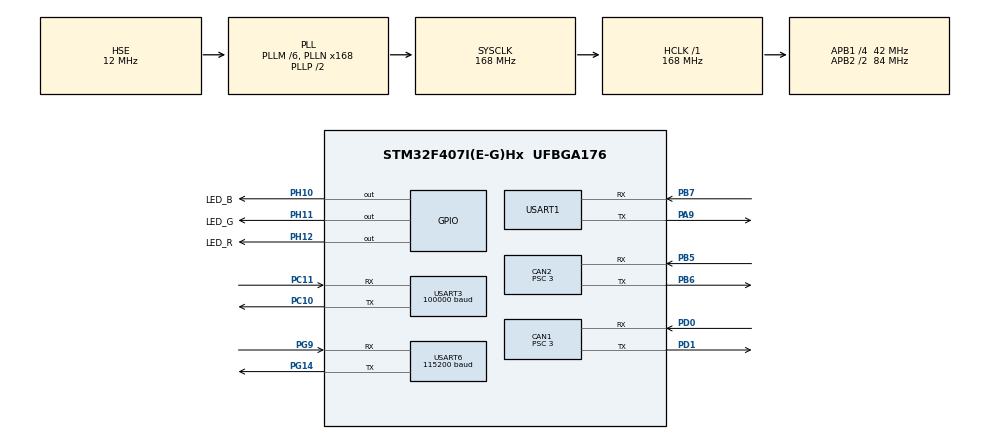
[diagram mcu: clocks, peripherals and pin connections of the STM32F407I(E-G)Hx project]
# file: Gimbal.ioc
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CAN1.BS1=CAN_BS1_10TQ
CAN1.BS2=CAN_BS2_3TQ
CAN1.CalculateBaudRate=1000000
CAN1.CalculateTimeBit=1000
CAN1.CalculateTimeQuantum=71.42857142857143
CAN1.Prescaler=3
CAN2.BS1=CAN_BS1_10TQ
CAN2.BS2=CAN_BS2_3TQ
CAN2.CalculateBaudRate=1000000
CAN2.CalculateTimeBit=1000
CAN2.CalculateTimeQuantum=71.42857142857143
CAN2.Prescaler=3
Dma.Request0=USART6_RX
Dma.Request1=USART6_TX
Dma.Request2=USART1_RX
Dma.Request3=USART1_TX
Dma.Request4=USART3_RX
Dma.Request5=USART3_TX
Dma.USART1_RX.2.Direction=DMA_PERIPH_TO_MEMORY
Dma.USART1_RX.2.FIFOMode=DMA_FIFOMODE_DISABLE
Dma.USART1_RX.2.Instance=DMA2_Stream2
Dma.USART1_RX.2.MemDataAlignment=DMA_MDATAALIGN_BYTE
Dma.USART1_RX.2.MemInc=DMA_MINC_ENABLE
Dma.USART1_RX.2.Mode=DMA_NORMAL
Dma.USART1_RX.2.PeriphDataAlignment=DMA_PDATAALIGN_BYTE
Dma.USART1_RX.2.PeriphInc=DMA_PINC_DISABLE
Dma.USART1_RX.2.Priority=DMA_PRIORITY_LOW
Dma.USART1_TX.3.Direction=DMA_MEMORY_TO_PERIPH
Dma.USART1_TX.3.FIFOMode=DMA_FIFOMODE_DISABLE
Dma.USART1_TX.3.Instance=DMA2_Stream7
Dma.USART1_TX.3.MemDataAlignment=DMA_MDATAALIGN_BYTE
Dma.USART1_TX.3.MemInc=DMA_MINC_ENABLE
Dma.USART1_TX.3.Mode=DMA_NORMAL
Dma.USART1_TX.3.PeriphDataAlignment=DMA_PDATAALIGN_BYTE
Dma.USART1_TX.3.PeriphInc=DMA_PINC_DISABLE
Dma.USART1_TX.3.Priority=DMA_PRIORITY_LOW
Dma.USART3_RX.4.Direction=DMA_PERIPH_TO_MEMORY
Dma.USART3_RX.4.FIFOMode=DMA_FIFOMODE_DISABLE
Dma.USART3_RX.4.Instance=DMA1_Stream1
Dma.USART3_RX.4.MemDataAlignment=DMA_MDATAALIGN_BYTE
Dma.USART3_RX.4.MemInc=DMA_MINC_ENABLE
Dma.USART3_RX.4.Mode=DMA_NORMAL
Dma.USART3_RX.4.PeriphDataAlignment=DMA_PDATAALIGN_BYTE
Dma.USART3_RX.4.PeriphInc=DMA_PINC_DISABLE
Dma.USART3_RX.4.Priority=DMA_PRIORITY_LOW
Dma.USART3_TX.5.Direction=DMA_MEMORY_TO_PERIPH
Dma.USART3_TX.5.FIFOMode=DMA_FIFOMODE_DISABLE
Dma.USART3_TX.5.Instance=DMA1_Stream3
Dma.USART3_TX.5.MemDataAlignment=DMA_MDATAALIGN_BYTE
Dma.USART3_TX.5.MemInc=DMA_MINC_ENABLE
Dma.USART3_TX.5.Mode=DMA_NORMAL
Dma.USART3_TX.5.PeriphDataAlignment=DMA_PDATAALIGN_BYTE
Dma.USART3_TX.5.PeriphInc=DMA_PINC_DISABLE
Dma.USART3_TX.5.Priority=DMA_PRIORITY_LOW
Dma.USART6_RX.0.Direction=DMA_PERIPH_TO_MEMORY
Dma.USART6_RX.0.FIFOMode=DMA_FIFOMODE_DISABLE
Dma.USART6_RX.0.Instance=DMA2_Stream1
Dma.USART6_RX.0.MemDataAlignment=DMA_MDATAALIGN_BYTE
Dma.USART6_RX.0.MemInc=DMA_MINC_ENABLE
Dma.USART6_RX.0.Mode=DMA_NORMAL
Dma.USART6_RX.0.PeriphDataAlignment=DMA_PDATAALIGN_BYTE
Dma.USART6_RX.0.PeriphInc=DMA_PINC_DISABLE
Dma.USART6_RX.0.Priority=DMA_PRIORITY_LOW
Dma.USART6_TX.1.Direction=DMA_MEMORY_TO_PERIPH
Dma.USART6_TX.1.FIFOMode=DMA_FIFOMODE_DISABLE
Dma.USART6_TX.1.Instance=DMA2_Stream6
Dma.USART6_TX.1.MemDataAlignment=DMA_MDATAALIGN_BYTE
Dma.USART6_TX.1.MemInc=DMA_MINC_ENABLE
Dma.USART6_TX.1.Mode=DMA_NORMAL
Dma.USART6_TX.1.PeriphDataAlignment=DMA_PDATAALIGN_BYTE
Dma.USART6_TX.1.PeriphInc=DMA_PINC_DISABLE
Dma.USART6_TX.1.Priority=DMA_PRIORITY_LOW
Mcu.Family=STM32F4
Mcu.Name=STM32F407I(E-G)Hx
Mcu.Package=UFBGA176
NVIC.CAN1_RX0_IRQn=true\:1\:0\:true\:false\:true\:true\:true\:true
NVIC.CAN2_RX0_IRQn=true\:1\:0\:true\:false\:true\:true\:true\:true
NVIC.DMA1_Stream1_IRQn=true\:0\:0\:false\:false\:true\:false\:true\:true
NVIC.DMA1_Stream3_IRQn=true\:0\:0\:false\:false\:true\:false\:true\:true
NVIC.DMA2_Stream1_IRQn=true\:0\:0\:false\:false\:true\:false\:true\:true
NVIC.DMA2_Stream2_IRQn=true\:0\:0\:false\:false\:true\:false\:true\:true
NVIC.DMA2_Stream6_IRQn=true\:0\:0\:false\:false\:true\:false\:true\:true
NVIC.DMA2_Stream7_IRQn=true\:0\:0\:false\:false\:true\:false\:true\:true
NVIC.PriorityGroup=NVIC_PRIORITYGROUP_4
NVIC.TIM2_IRQn=true\:0\:0\:true\:false\:true\:true\:true\:true
NVIC.USART1_IRQn=true\:2\:0\:true\:false\:true\:true\:true\:true
NVIC.USART3_IRQn=true\:2\:0\:true\:false\:true\:true\:true\:true
NVIC.USART6_IRQn=true\:2\:0\:true\:false\:true\:true\:true\:true
PA13.Mode=Serial_Wire
PA13.Signal=SYS_JTMS-SWDIO
PA14.Mode=Serial_Wire
PA14.Signal=SYS_JTCK-SWCLK
PA9.Mode=Asynchronous
PA9.Signal=USART1_TX
PB5.Mode=CAN_Activate
PB5.Signal=CAN2_RX
PB6.Mode=CAN_Activate
PB6.Signal=CAN2_TX
PB7.Mode=Asynchronous
PB7.Signal=USART1_RX
PC10.Mode=Asynchronous
PC10.Signal=USART3_TX
PC11.Mode=Asynchronous
PC11.Signal=USART3_RX
PD0.Mode=CAN_Activate
PD0.Signal=CAN1_RX
PD1.Mode=CAN_Activate
PD1.Signal=CAN1_TX
PG14.Mode=Asynchronous
PG14.Signal=USART6_TX
PG9.Mode=Asynchronous
PG9.Signal=USART6_RX
PH0-OSC_IN.Mode=HSE-External-Oscillator
PH0-OSC_IN.Signal=RCC_OSC_IN
PH1-OSC_OUT.Mode=HSE-External-Oscillator
PH1-OSC_OUT.Signal=RCC_OSC_OUT
PH10.GPIO_Label=LED_B
PH10.Signal=GPIO_Output
PH11.GPIO_Label=LED_G
PH11.Signal=GPIO_Output
PH12.GPIO_Label=LED_R
PH12.Signal=GPIO_Output
ProjectManager.HeapSize=0x200
ProjectManager.StackSize=0x400
ProjectManager.TargetToolchain=CMake
RCC.48MHZClocksFreq_Value=84000000
RCC.AHBFreq_Value=168000000
RCC.APB1CLKDivider=RCC_HCLK_DIV4
RCC.APB1Freq_Value=42000000
RCC.APB1TimFreq_Value=84000000
RCC.APB2CLKDivider=RCC_HCLK_DIV2
RCC.APB2Freq_Value=84000000
RCC.APB2TimFreq_Value=168000000
RCC.CortexFreq_Value=168000000
RCC.HCLKFreq_Value=168000000
RCC.HSE_VALUE=12000000
RCC.HSI_VALUE=16000000
RCC.LSE_VALUE=32768
RCC.PLLM=6
RCC.PLLN=168
RCC.PLLSourceVirtual=RCC_PLLSOURCE_HSE
RCC.SYSCLKFreq_VALUE=168000000
RCC.SYSCLKSource=RCC_SYSCLKSOURCE_PLLCLK
RCC.VCOOutputFreq_Value=336000000
TIM2.Period=99
TIM2.Prescaler=839
USART1.VirtualMode=VM_ASYNC
USART3.BaudRate=100000
USART3.Parity=PARITY_EVEN
USART3.VirtualMode=VM_ASYNC
USART3.WordLength=WORDLENGTH_9B
USART6.BaudRate=115200
USART6.VirtualMode=VM_ASYNC
VP_TIM2_VS_ClockSourceINT.Mode=Internal
board=custom

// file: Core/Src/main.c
/* USER CODE BEGIN Header */
/**
  ******************************************************************************
  * @file           : main.c
  * @brief          : 云台控制主程序
  ******************************************************************************
  */
/* USER CODE END Header */
#include "main.h"
#include "can.h"
#include "dma.h"
#include "tim.h"
#include "usart.h"
#include "gpio.h"

/* USER CODE BEGIN Includes */
#include "bsp_can.h"
#include "bsp_uart.h"
#include "gm6020.h"
#include "vofa.h"
#include "gimbal_task.h"
/* USER CODE END Includes */

void SystemClock_Config(void);
/* USER CODE BEGIN PFP */
// 声明CAN 接收中断回调函数
void User_CAN_Rx_Callback(CAN_HandleTypeDef *hcan, uint32_t std_id, uint8_t *data, uint32_t len);
/* USER CODE END PFP */

int main(void)
{

  /* MCU Configuration--------------------------------------------------------*/

  /* Reset of all peripherals, Initializes the Flash interface and the Systick. */
  HAL_Init();

  /* Configure the system clock */
  SystemClock_Config();

  /* Initialize all configured peripherals */
  MX_GPIO_Init();
  MX_DMA_Init();
  MX_CAN1_Init();
  MX_USART6_UART_Init();
  MX_CAN2_Init();
  MX_TIM2_Init();
  MX_USART1_UART_Init();
  MX_USART3_UART_Init();
  /* USER CODE BEGIN 2 */

  // 云台初始化
  Gimbal_Init();

  // CAN1初始化
  BSP_CAN_Init(&hcan1, User_CAN_Rx_Callback);

  // 遥控器通信初始化
  BSP_UART_Init(&huart3, Gimbal_RC_Callback);

  // 板间通信初始化
  BSP_UART_Init(&huart6, Gimbal_Chassis_Callback);

  // 上位机通信初始化
  BSP_UART_Init(&huart1, Vofa_Process_Command);

  // 时间戳初始化
  uint32_t tick_loop = 0;
  uint32_t tick_led = 0;

  // 指示灯初始化
  HAL_GPIO_WritePin(LED_B_GPIO_Port, LED_B_Pin, GPIO_PIN_RESET);
  HAL_GPIO_WritePin(LED_G_GPIO_Port, LED_G_Pin, GPIO_PIN_RESET);
  HAL_GPIO_WritePin(LED_R_GPIO_Port, LED_R_Pin, GPIO_PIN_RESET);

  /* USER CODE END 2 */

  /* Infinite loop */
  /* USER CODE BEGIN WHILE */
  while (1)
  {
      uint32_t now = HAL_GetTick();

      // 云台控制 控制频率500Hz
      if (now - tick_loop >= 2)
      {
          tick_loop = now;
          Gimbal_Loop_Handler();
      }

      // 指示灯闪烁 闪烁频率2Hz
      if (now - tick_led >= 500)
      {
          tick_led = now;
          HAL_GPIO_TogglePin(LED_G_GPIO_Port, LED_G_Pin);
      }

    /* USER CODE END WHILE */

  }
}

void SystemClock_Config(void)
{
  RCC_OscInitTypeDef RCC_OscInitStruct = {0};
  RCC_ClkInitTypeDef RCC_ClkInitStruct = {0};

  /** Configure the main internal regulator output voltage
  */
  __HAL_RCC_PWR_CLK_ENABLE();
  __HAL_PWR_VOLTAGESCALING_CONFIG(PWR_REGULATOR_VOLTAGE_SCALE1);

  /** Initializes the RCC Oscillators according to the specified parameters
  * in the RCC_OscInitTypeDef structure.
  */
  RCC_OscInitStruct.OscillatorType = RCC_OSCILLATORTYPE_HSE;
  RCC_OscInitStruct.HSEState = RCC_HSE_ON;
  RCC_OscInitStruct.PLL.PLLState = RCC_PLL_ON;
  RCC_OscInitStruct.PLL.PLLSource = RCC_PLLSOURCE_HSE;
  RCC_OscInitStruct.PLL.PLLM = 6;
  RCC_OscInitStruct.PLL.PLLN = 168;
  RCC_OscInitStruct.PLL.PLLP = RCC_PLLP_DIV2;
  RCC_OscInitStruct.PLL.PLLQ = 4;
  if (HAL_RCC_OscConfig(&RCC_OscInitStruct) != HAL_OK)
  {
    Error_Handler();
  }

  /** Initializes the CPU, AHB and APB buses clocks
  */
  RCC_ClkInitStruct.ClockType = RCC_CLOCKTYPE_HCLK|RCC_CLOCKTYPE_SYSCLK
                              |RCC_CLOCKTYPE_PCLK1|RCC_CLOCKTYPE_PCLK2;
  RCC_ClkInitStruct.SYSCLKSource = RCC_SYSCLKSOURCE_PLLCLK;
  RCC_ClkInitStruct.AHBCLKDivider = RCC_SYSCLK_DIV1;
  RCC_ClkInitStruct.APB1CLKDivider = RCC_HCLK_DIV4;
  RCC_ClkInitStruct.APB2CLKDivider = RCC_HCLK_DIV2;

  if (HAL_RCC_ClockConfig(&RCC_ClkInitStruct, FLASH_LATENCY_5) != HAL_OK)
  {
    Error_Handler();
  }
}

/* USER CODE BEGIN 4 */

/**
 * @brief CAN接收中断分发函数
 */
void User_CAN_Rx_Callback(CAN_HandleTypeDef *hcan, uint32_t std_id, uint8_t *data, uint32_t len) {
    // 接收云台电机反馈数据
    if (hcan->Instance == CAN1 && std_id == 0x205) {
        GM6020_Update_Data(&motor_gimbal, data);
    }
}

/* USER CODE END 4 */

void Error_Handler(void)
{
  __disable_irq();
  while (1)
  {
  }
}
